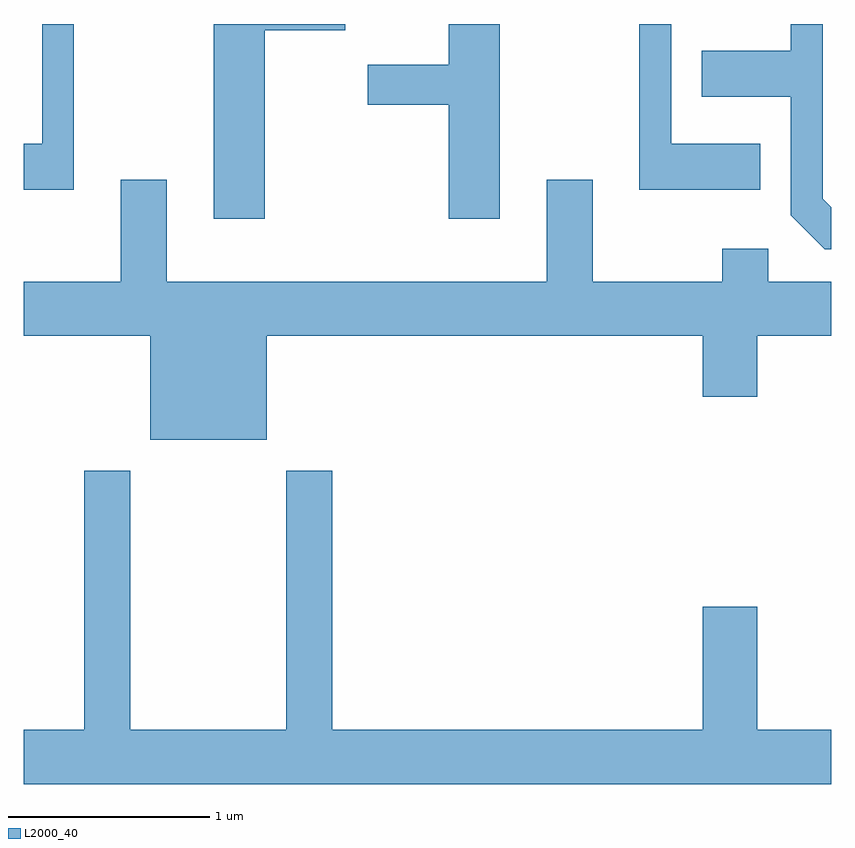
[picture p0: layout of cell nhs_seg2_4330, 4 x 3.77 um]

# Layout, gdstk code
import gdstk
lib = gdstk.Library(unit=1e-6, precision=1e-09)
def P(c, l, *ps):  # polygons
    for p in ps: c.add(gdstk.Polygon(p, *l))
L2000_40 = (2000, 40)

nhs_seg2_4330 = lib.new_cell('nhs_seg2_4330')
P(nhs_seg2_4330, L2000_40, [(315.611,1108.895),(315.569,1108.937),(315.569,1109.802),(315.411,1109.802),(315.411,1109.669),(314.971,1109.669),(314.971,1109.441),(315.411,1109.441),(315.411,1108.854),(315.579,1108.686),(315.611,1108.686)],
  [(312.804,1109.771),(313.204,1109.771),(313.204,1109.802),(312.551,1109.802),(312.551,1108.836),(312.804,1108.836)],
  [(315.259,1109.209),(314.819,1109.209),(314.819,1109.802),(314.661,1109.802),(314.661,1108.981),(315.259,1108.981)],
  [(311.859,1109.802),(311.701,1109.802),(311.701,1109.209),(311.611,1109.209),(311.611,1108.981),(311.859,1108.981)],
  [(313.969,1109.802),(313.716,1109.802),(313.716,1109.599),(313.316,1109.599),(313.316,1109.401),(313.716,1109.401),(313.716,1108.836),(313.969,1108.836)],
  [(312.814,1108.256),(314.976,1108.256),(314.976,1107.956),(315.244,1107.956),(315.244,1108.256),(315.611,1108.256),(315.611,1108.524),(315.299,1108.524),(315.299,1108.689),(315.071,1108.689),(315.071,1108.524),(314.429,1108.524),(314.429,1109.029),(314.201,1109.029),(314.201,1108.524),(312.319,1108.524),(312.319,1109.029),(312.091,1109.029),(312.091,1108.524),(311.611,1108.524),(311.611,1108.256),(312.236,1108.256),(312.236,1107.741),(312.814,1107.741)],
  [(315.611,1106.304),(315.244,1106.304),(315.244,1106.914),(314.976,1106.914),(314.976,1106.304),(313.139,1106.304),(313.139,1107.589),(312.911,1107.589),(312.911,1106.304),(312.139,1106.304),(312.139,1107.589),(311.911,1107.589),(311.911,1106.304),(311.611,1106.304),(311.611,1106.036),(315.611,1106.036)])

lib.write_gds('nhs_seg2_4330.gds')
